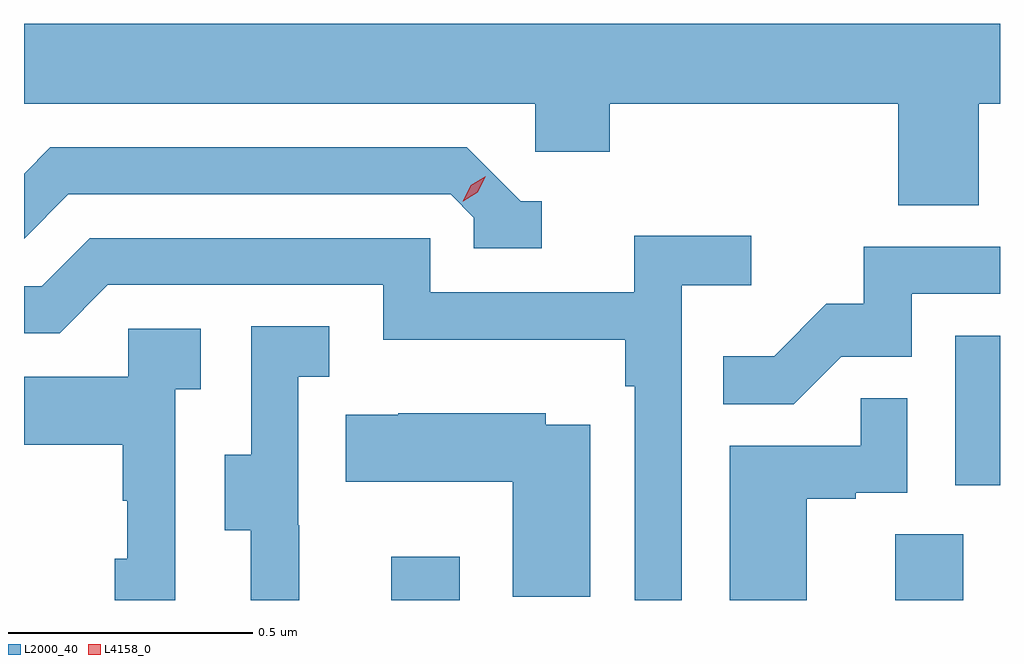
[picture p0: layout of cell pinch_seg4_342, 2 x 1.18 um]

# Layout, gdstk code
import gdstk
lib = gdstk.Library(unit=1e-6, precision=1e-09)
def R(c, l, rs):  # rectangles x0, y0, x1, y1
    for r in rs: c.add(gdstk.rectangle(r[:2], r[2:], *l))
def P(c, l, *ps):  # polygons
    for p in ps: c.add(gdstk.Polygon(p, *l))
L2000_40 = (2000, 40)
L4158_0 = (4158, 0)

pinch_seg4_342 = lib.new_cell('pinch_seg4_342')
R(pinch_seg4_342, L2000_40, [(1005.809,809.123,1005.949,809.212), (1006.841,809.123,1006.981,809.258), (1006.964,809.358,1007.056,809.665)])
P(pinch_seg4_342, L2000_40, [(1007.012,810.14),(1007.056,810.14),(1007.056,810.304),(1005.056,810.304),(1005.056,810.14),(1006.104,810.14),(1006.104,810.042),(1006.256,810.042),(1006.256,810.14),(1006.847,810.14),(1006.847,809.932),(1007.012,809.932)],
  [(1006.117,809.94),(1006.074,809.94),(1005.963,810.051),(1005.11,810.051),(1005.056,809.997),(1005.056,809.864),(1005.147,809.955),(1005.93,809.955),(1005.978,809.907),(1005.978,809.844),(1006.117,809.844)],
  [(1006.404,809.768),(1006.546,809.768),(1006.546,809.87),(1006.307,809.87),(1006.307,809.754),(1005.888,809.754),(1005.888,809.865),(1005.191,809.865),(1005.092,809.766),(1005.056,809.766),(1005.056,809.67),(1005.129,809.67),(1005.228,809.769),(1005.792,809.769),(1005.792,809.657),(1006.288,809.657),(1006.288,809.561),(1006.308,809.561),(1006.308,809.123),(1006.404,809.123)],
  [(1006.731,809.622),(1006.875,809.622),(1006.875,809.751),(1007.056,809.751),(1007.056,809.847),(1006.777,809.847),(1006.777,809.73),(1006.7,809.73),(1006.593,809.623),(1006.489,809.623),(1006.489,809.524),(1006.633,809.524)],
  [(1005.62,809.277),(1005.618,809.277),(1005.618,809.581),(1005.682,809.581),(1005.682,809.684),(1005.522,809.684),(1005.522,809.421),(1005.467,809.421),(1005.467,809.266),(1005.521,809.266),(1005.521,809.123),(1005.62,809.123)],
  [(1005.366,809.555),(1005.418,809.555),(1005.418,809.679),(1005.27,809.679),(1005.27,809.581),(1005.056,809.581),(1005.056,809.441),(1005.258,809.441),(1005.258,809.327),(1005.268,809.327),(1005.268,809.208),(1005.242,809.208),(1005.242,809.123),(1005.366,809.123)],
  [(1006.66,809.331),(1006.76,809.331),(1006.76,809.343),(1006.866,809.343),(1006.866,809.537),(1006.771,809.537),(1006.771,809.439),(1006.502,809.439),(1006.502,809.123),(1006.66,809.123)],
  [(1006.216,809.482),(1006.125,809.482),(1006.125,809.506),(1005.823,809.506),(1005.823,809.503),(1005.715,809.503),(1005.715,809.366),(1006.058,809.366),(1006.058,809.13),(1006.216,809.13)])
P(pinch_seg4_342, L4158_0, [(1005.955,809.94),(1005.955,809.94),(1005.971,809.973),(1006.002,809.992),(1006.002,809.992),(1006.002,809.992),(1005.986,809.959),(1005.956,809.94)])

lib.write_gds('pinch_seg4_342.gds')
